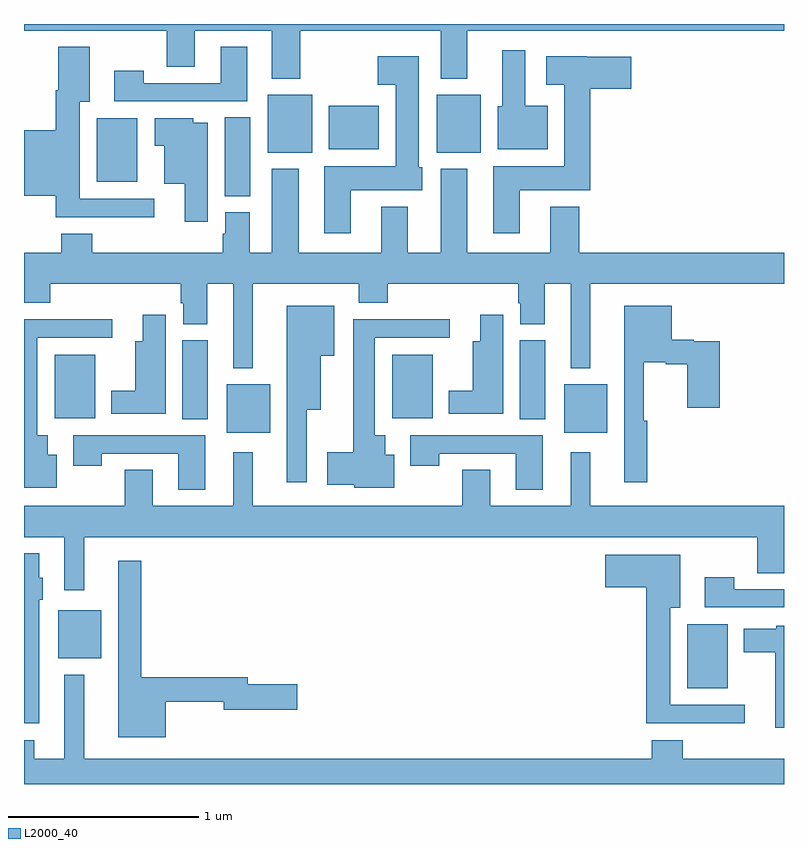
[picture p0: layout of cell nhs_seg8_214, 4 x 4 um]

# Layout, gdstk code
import gdstk
lib = gdstk.Library(unit=1e-6, precision=1e-09)
def R(c, l, rs):  # rectangles x0, y0, x1, y1
    for r in rs: c.add(gdstk.rectangle(r[:2], r[2:], *l))
def P(c, l, *ps):  # polygons
    for p in ps: c.add(gdstk.Polygon(p, *l))
L2000_40 = (2000, 40)

nhs_seg8_214 = lib.new_cell('nhs_seg8_214')
R(nhs_seg8_214, L2000_40, [(128.492,1082.405,128.704,1082.74), (125.18,1082.561,125.407,1082.815), (126.068,1083.749,126.295,1084.003), (127.844,1083.749,128.071,1084.003), (125.834,1083.82,125.968,1084.236), (127.61,1083.82,127.744,1084.236), (125.162,1083.824,125.374,1084.159), (126.938,1083.824,127.15,1084.159), (126.056,1084.993,126.19,1085.408), (125.384,1085.069,125.596,1085.404), (126.284,1085.222,126.517,1085.527), (127.172,1085.222,127.405,1085.527), (126.605,1085.24,126.868,1085.47)])
P(nhs_seg8_214, L2000_40, [(126.453,1085.864),(127.193,1085.864),(127.193,1085.612),(127.333,1085.612),(127.333,1085.864),(129,1085.864),(129,1085.9),(125,1085.9),(125,1085.864),(125.752,1085.864),(125.752,1085.674),(125.899,1085.674),(125.899,1085.864),(126.305,1085.864),(126.305,1085.612),(126.453,1085.612)],
  [(126.175,1085.779),(126.035,1085.779),(126.035,1085.589),(125.631,1085.589),(125.631,1085.653),(125.475,1085.653),(125.475,1085.493),(126.175,1085.493)],
  [(125.686,1084.98),(125.293,1084.98),(125.293,1085.492),(125.347,1085.492),(125.347,1085.779),(125.18,1085.779),(125.18,1085.552),(125.168,1085.552),(125.168,1085.341),(125,1085.341),(125,1084.997),(125.168,1084.997),(125.168,1084.883),(125.686,1084.883)],
  [(127.756,1085.47),(127.639,1085.47),(127.639,1085.761),(127.517,1085.761),(127.517,1085.466),(127.493,1085.466),(127.493,1085.24),(127.756,1085.24)],
  [(127.609,1085.024),(127.979,1085.024),(127.979,1085.558),(128.197,1085.558),(128.197,1085.728),(127.962,1085.728),(127.962,1085.731),(127.749,1085.731),(127.749,1085.579),(127.844,1085.579),(127.844,1085.152),(127.469,1085.152),(127.469,1084.8),(127.609,1084.8)],
  [(126.721,1085.024),(127.096,1085.024),(127.096,1085.145),(127.078,1085.145),(127.078,1085.731),(126.861,1085.731),(126.861,1085.579),(126.956,1085.579),(126.956,1085.152),(126.581,1085.152),(126.581,1084.8),(126.721,1084.8)],
  [(125.968,1085.38),(125.892,1085.38),(125.892,1085.404),(125.687,1085.404),(125.687,1085.258),(125.738,1085.258),(125.738,1085.06),(125.846,1085.06),(125.846,1084.86),(125.968,1084.86)],
  [(126.205,1084.532),(126.761,1084.532),(126.761,1084.433),(126.914,1084.433),(126.914,1084.532),(127.601,1084.532),(127.601,1084.431),(127.613,1084.431),(127.613,1084.321),(127.741,1084.321),(127.741,1084.532),(127.877,1084.532),(127.877,1084.088),(127.981,1084.088),(127.981,1084.532),(129,1084.532),(129,1084.696),(127.922,1084.696),(127.922,1084.939),(127.769,1084.939),(127.769,1084.696),(127.333,1084.696),(127.333,1085.137),(127.193,1085.137),(127.193,1084.696),(127.021,1084.696),(127.021,1084.939),(126.881,1084.939),(126.881,1084.696),(126.445,1084.696),(126.445,1085.137),(126.305,1085.137),(126.305,1084.696),(126.187,1084.696),(126.187,1084.908),(126.059,1084.908),(126.059,1084.797),(126.047,1084.797),(126.047,1084.696),(125.36,1084.696),(125.36,1084.795),(125.195,1084.795),(125.195,1084.696),(125,1084.696),(125,1084.433),(125.138,1084.433),(125.138,1084.532),(125.825,1084.532),(125.825,1084.431),(125.837,1084.431),(125.837,1084.321),(125.965,1084.321),(125.965,1084.532),(126.101,1084.532),(126.101,1084.088),(126.205,1084.088)],
  [(126.487,1083.869),(126.562,1083.869),(126.562,1084.154),(126.634,1084.154),(126.634,1084.417),(126.383,1084.417),(126.383,1083.489),(126.487,1083.489)],
  [(128.281,1083.813),(128.263,1083.813),(128.263,1084.121),(128.378,1084.121),(128.378,1084.109),(128.492,1084.109),(128.492,1083.879),(128.663,1083.879),(128.663,1084.231),(128.526,1084.231),(128.526,1084.239),(128.41,1084.239),(128.41,1084.417),(128.159,1084.417),(128.159,1083.489),(128.281,1083.489)],
  [(125.746,1084.369),(125.624,1084.369),(125.624,1084.231),(125.585,1084.231),(125.585,1083.97),(125.459,1083.97),(125.459,1083.848),(125.746,1083.848)],
  [(127.522,1084.369),(127.4,1084.369),(127.4,1084.231),(127.361,1084.231),(127.361,1083.97),(127.235,1083.97),(127.235,1083.848),(127.522,1083.848)],
  [(126.949,1083.634),(126.901,1083.634),(126.901,1083.736),(126.847,1083.736),(126.847,1084.248),(127.24,1084.248),(127.24,1084.346),(126.734,1084.346),(126.734,1083.647),(126.597,1083.647),(126.597,1083.476),(126.738,1083.476),(126.738,1083.458),(126.949,1083.458)],
  [(125.173,1083.634),(125.125,1083.634),(125.125,1083.736),(125.071,1083.736),(125.071,1084.248),(125.464,1084.248),(125.464,1084.346),(125,1084.346),(125,1083.458),(125.173,1083.458)],
  [(125.953,1083.735),(125.258,1083.735),(125.258,1083.576),(125.409,1083.576),(125.409,1083.639),(125.813,1083.639),(125.813,1083.45),(125.953,1083.45)],
  [(127.729,1083.735),(127.034,1083.735),(127.034,1083.576),(127.185,1083.576),(127.185,1083.639),(127.589,1083.639),(127.589,1083.45),(127.729,1083.45)],
  [(125.317,1083.2),(128.86,1083.2),(128.86,1083.01),(129,1083.01),(129,1083.364),(127.981,1083.364),(127.981,1083.646),(127.877,1083.646),(127.877,1083.364),(127.453,1083.364),(127.453,1083.554),(127.306,1083.554),(127.306,1083.364),(126.205,1083.364),(126.205,1083.646),(126.101,1083.646),(126.101,1083.364),(125.677,1083.364),(125.677,1083.554),(125.53,1083.554),(125.53,1083.364),(125,1083.364),(125,1083.2),(125.213,1083.2),(125.213,1082.919),(125.317,1082.919)],
  [(125.08,1082.871),(125.098,1082.871),(125.098,1082.985),(125.08,1082.985),(125.08,1083.115),(125,1083.115),(125,1082.219),(125.08,1082.219)],
  [(128.794,1082.316),(128.401,1082.316),(128.401,1082.828),(128.455,1082.828),(128.455,1083.106),(128.058,1083.106),(128.058,1082.936),(128.276,1082.936),(128.276,1082.219),(128.794,1082.219)],
  [(125.746,1082.334),(126.05,1082.334),(126.05,1082.291),(126.439,1082.291),(126.439,1082.426),(126.178,1082.426),(126.178,1082.462),(125.617,1082.462),(125.617,1083.076),(125.495,1083.076),(125.495,1082.147),(125.746,1082.147)],
  [(129,1082.925),(128.739,1082.925),(128.739,1082.989),(128.583,1082.989),(128.583,1082.829),(129,1082.829)],
  [(129,1082.734),(128.958,1082.734),(128.958,1082.716),(128.789,1082.716),(128.789,1082.594),(128.954,1082.594),(128.954,1082.196),(129,1082.196)],
  [(129,1082.032),(128.468,1082.032),(128.468,1082.131),(128.303,1082.131),(128.303,1082.032),(125.317,1082.032),(125.317,1082.476),(125.213,1082.476),(125.213,1082.032),(125.053,1082.032),(125.053,1082.131),(125,1082.131),(125,1081.9),(129,1081.9)])

lib.write_gds('nhs_seg8_214.gds')
